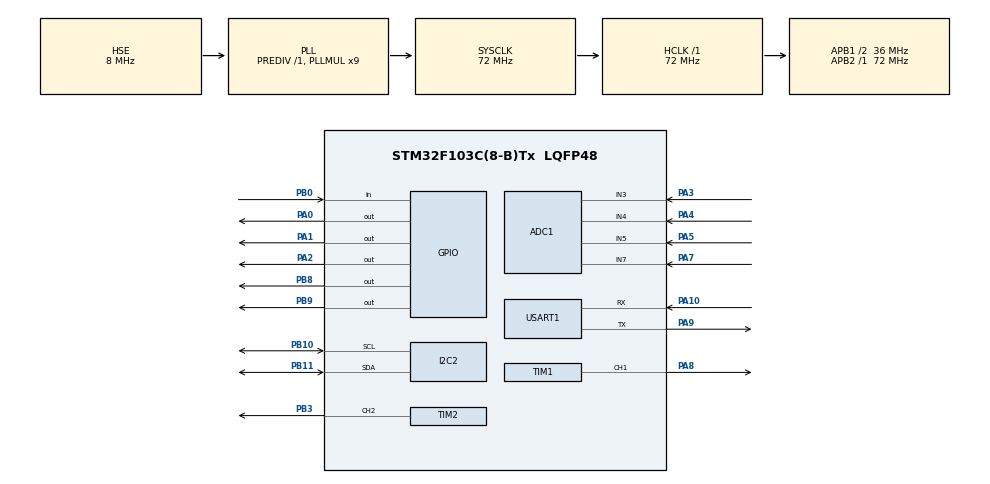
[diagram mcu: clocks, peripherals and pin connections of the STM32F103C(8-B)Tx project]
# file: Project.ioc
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ADC1.Channel-1\#ChannelRegularConversion=ADC_CHANNEL_3
ADC1.Channel-2\#ChannelRegularConversion=ADC_CHANNEL_4
ADC1.Channel-3\#ChannelRegularConversion=ADC_CHANNEL_5
ADC1.Channel-4\#ChannelRegularConversion=ADC_CHANNEL_7
ADC1.ContinuousConvMode=ENABLE
ADC1.NbrOfConversion=4
ADC1.NbrOfConversionFlag=1
ADC1.Rank-1\#ChannelRegularConversion=1
ADC1.Rank-2\#ChannelRegularConversion=2
ADC1.Rank-3\#ChannelRegularConversion=3
ADC1.Rank-4\#ChannelRegularConversion=4
ADC1.SamplingTime-1\#ChannelRegularConversion=ADC_SAMPLETIME_239CYCLES_5
ADC1.SamplingTime-2\#ChannelRegularConversion=ADC_SAMPLETIME_239CYCLES_5
ADC1.SamplingTime-3\#ChannelRegularConversion=ADC_SAMPLETIME_239CYCLES_5
ADC1.SamplingTime-4\#ChannelRegularConversion=ADC_SAMPLETIME_239CYCLES_5
ADC1.master=1
Dma.ADC1.0.Direction=DMA_PERIPH_TO_MEMORY
Dma.ADC1.0.Instance=DMA1_Channel1
Dma.ADC1.0.MemDataAlignment=DMA_MDATAALIGN_HALFWORD
Dma.ADC1.0.MemInc=DMA_MINC_ENABLE
Dma.ADC1.0.Mode=DMA_CIRCULAR
Dma.ADC1.0.PeriphDataAlignment=DMA_PDATAALIGN_HALFWORD
Dma.ADC1.0.PeriphInc=DMA_PINC_DISABLE
Dma.ADC1.0.Priority=DMA_PRIORITY_MEDIUM
Dma.Request0=ADC1
I2C2.I2C_Mode=I2C_Standard
Mcu.Family=STM32F1
Mcu.Name=STM32F103C(8-B)Tx
Mcu.Package=LQFP48
NVIC.DMA1_Channel1_IRQn=true\:0\:0\:false\:false\:true\:false\:true\:true
NVIC.PriorityGroup=NVIC_PRIORITYGROUP_4
NVIC.USART1_IRQn=true\:0\:0\:false\:false\:true\:true\:true\:true
PA0-WKUP.GPIO_ModeDefaultOutputPP=GPIO_MODE_OUTPUT_PP
PA0-WKUP.Signal=GPIO_Output
PA1.GPIO_ModeDefaultOutputPP=GPIO_MODE_OUTPUT_PP
PA1.Signal=GPIO_Output
PA10.Mode=Asynchronous
PA10.Signal=USART1_RX
PA13.Mode=Serial_Wire
PA13.Signal=SYS_JTMS-SWDIO
PA14.Mode=Serial_Wire
PA14.Signal=SYS_JTCK-SWCLK
PA2.GPIO_ModeDefaultOutputPP=GPIO_MODE_OUTPUT_PP
PA2.Signal=GPIO_Output
PA3.GPIO_Mode=GPIO_MODE_ANALOG
PA3.Signal=ADCx_IN3
PA4.GPIO_Mode=GPIO_MODE_ANALOG
PA4.Signal=ADCx_IN4
PA5.GPIO_Mode=GPIO_MODE_ANALOG
PA5.Signal=ADCx_IN5
PA7.GPIO_Mode=GPIO_MODE_ANALOG
PA7.Signal=ADCx_IN7
PA8.Signal=S_TIM1_CH1
PA9.Mode=Asynchronous
PA9.Signal=USART1_TX
PB0.GPIO_PuPd=GPIO_PULLUP
PB0.Signal=GPIO_Input
PB10.GPIO_Mode=GPIO_MODE_AF_OD
PB10.Mode=I2C
PB10.Signal=I2C2_SCL
PB11.GPIO_Mode=GPIO_MODE_AF_OD
PB11.Mode=I2C
PB11.Signal=I2C2_SDA
PB3.Signal=S_TIM2_CH2
PB8.GPIO_ModeDefaultOutputPP=GPIO_MODE_OUTPUT_OD
PB8.GPIO_PuPd=GPIO_NOPULL
PB8.GPIO_Speed=GPIO_SPEED_FREQ_HIGH
PB8.PinState=GPIO_PIN_SET
PB8.Signal=GPIO_Output
PB9.GPIO_ModeDefaultOutputPP=GPIO_MODE_OUTPUT_OD
PB9.GPIO_PuPd=GPIO_NOPULL
PB9.GPIO_Speed=GPIO_SPEED_FREQ_HIGH
PB9.PinState=GPIO_PIN_SET
PB9.Signal=GPIO_Output
PD0-OSC_IN.Mode=HSE-External-Oscillator
PD0-OSC_IN.Signal=RCC_OSC_IN
PD1-OSC_OUT.Mode=HSE-External-Oscillator
PD1-OSC_OUT.Signal=RCC_OSC_OUT
ProjectManager.HeapSize=0x200
ProjectManager.StackSize=0x400
ProjectManager.TargetToolchain=CMake
RCC.ADCPresc=RCC_ADCPCLK2_DIV6
RCC.AHBFreq_Value=72000000
RCC.APB1CLKDivider=RCC_HCLK_DIV2
RCC.APB1Freq_Value=36000000
RCC.APB1TimFreq_Value=72000000
RCC.APB2Freq_Value=72000000
RCC.APB2TimFreq_Value=72000000
RCC.HCLKFreq_Value=72000000
RCC.PLLMUL=RCC_PLL_MUL9
RCC.PLLSourceVirtual=RCC_PLLSOURCE_HSE
RCC.SYSCLKFreq_VALUE=72000000
RCC.SYSCLKSource=RCC_SYSCLKSOURCE_PLLCLK
RCC.USBFreq_Value=72000000
SH.ADCx_IN3.0=ADC1_IN3,IN3
SH.ADCx_IN4.0=ADC1_IN4,IN4
SH.ADCx_IN5.0=ADC1_IN5,IN5
SH.ADCx_IN7.0=ADC1_IN7,IN7
SH.S_TIM1_CH1.0=TIM1_CH1,PWM Generation1 CH1
SH.S_TIM2_CH2.0=TIM2_CH2,PWM Generation2 CH2
TIM1.AutoReloadPreload=TIM_AUTORELOAD_PRELOAD_ENABLE
TIM1.Channel-PWM\ Generation1\ CH1=TIM_CHANNEL_1
TIM1.Period=19999
TIM1.Prescaler=71
TIM1.Pulse-PWM\ Generation1\ CH1=1380
TIM2.AutoReloadPreload=TIM_AUTORELOAD_PRELOAD_ENABLE
TIM2.Channel-PWM\ Generation2\ CH2=TIM_CHANNEL_2
TIM2.Period=19999
TIM2.Prescaler=71
TIM2.Pulse-PWM\ Generation2\ CH2=1450
USART1.VirtualMode=VM_ASYNC
VP_TIM1_VS_ClockSourceINT.Mode=Internal
VP_TIM2_VS_ClockSourceINT.Mode=Internal
board=custom

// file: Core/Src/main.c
/* USER CODE BEGIN Header */
/**
  ******************************************************************************
  * @file           : main.c
  * @brief          : Main program body
  ******************************************************************************
  * @attention
  *
  * Copyright (c) 2026 STMicroelectronics.
  * All rights reserved.
  *
  * This software is licensed under terms that can be found in the LICENSE file
  * in the root directory of this software component.
  * If no LICENSE file comes with this software, it is provided AS-IS.
  *
  ******************************************************************************
  */
/* USER CODE END Header */
#include "main.h"
#include "adc.h"
#include "dma.h"
#include "i2c.h"
#include "tim.h"
#include "usart.h"
#include "gpio.h"

/* USER CODE BEGIN Includes */
#include "OLED.h"
#include"string.h"
#include"stdlib.h"
#include"stdio.h"
#include"math.h"
#include"mpu6050.h"
/* USER CODE END Includes */

/* USER CODE BEGIN PD */
#define  pitch 1380
#define  yaw 1450
/* USER CODE END PD */

/* USER CODE BEGIN PV */
char u[25];
volatile uint8_t character; //单字符
volatile uint8_t recvd[34]; //字符串缓冲
volatile uint8_t  i= 0;//字符串数组角标
volatile uint8_t finish = 0;  //字符串接收完成标志
volatile uint8_t cnt = 1; //模式，会转化为n
uint16_t pitch_angle=90,yaw_angle=90;//舵机初始角
float   gyro_bias[3]  = {0, 0, 0}; //陀螺仪零偏
float pitch0=0,roll0=0;//acc偏移
int MPU_OK=-1;//默认让led1常亮，CAL后0则闪烁，1则常亮
float  Pitch=0.0f,Roll=0.0f;//MPU俯仰角，翻滚角
char Pitch_Roll[48], pitch_yaw[48];//OLED缓冲
uint32_t last_mputick=0,last_oled_tick,lastkeytick=0,now=0;//mpuUpdate mpu_oled 按钮消抖的时间戳
volatile uint16_t initial_adc[4] = {0};   //初始值
uint16_t ADC[4] = {0};   //滤波后的值
uint16_t adc_buf[4][8] = {0};//缓冲
float ADC_pitch = 0.0f;   // ADC相关的舵机角度
float ADC_yaw   = 0.0f;
volatile uint8_t adc_ready = 0;
//追光参数

/* USER CODE END PV */

void SystemClock_Config(void);

/* USER CODE BEGIN 0 */

/* USER CODE BEGIN 0 */

float clamp(float a)//钳位函数
{
if(a<0.0f) return 0.0f;
else if(a>180.0) return 180.0f;
else return a;
}

void MPU_UpdateAttitude(void)
{
   short acc[3],gyro[3];//六轴数据
	 uint32_t now =HAL_GetTick();

	 if((now-last_mputick)<20) return;
	 //else 开始更新读数
	 last_mputick=now;
   MPU6050ReadAcc(acc);
   MPU6050ReadGyro(gyro);

	  float gx = (gyro[0] - gyro_bias[0]) / 16.4f;
    float gy = (gyro[1] - gyro_bias[1]) / 16.4f;

	  float ax = acc[0] / 16384.0f;
    float ay = acc[1] / 16384.0f;
    float az = acc[2] / 16384.0f;
	  float acc_pitch = atan2f( -ax, sqrtf(ay*ay + az*az)) * 57.3f;
    float acc_roll  = atan2f( ay, sqrtf(ax*ax + az*az)) * 57.3f;
    acc_pitch -= pitch0;
    acc_roll  -= roll0;
	if (az < 0.0f) {
    if (acc_pitch >= 0.0f) acc_pitch =  180.0f - acc_pitch;
    else                    acc_pitch = -180.0f - acc_pitch;

    if (acc_roll >= 0.0f)  acc_roll  =  180.0f - acc_roll;
    else                    acc_roll  = -180.0f - acc_roll;
}

float gy_eff = (az < 0.0f) ? -gy : gy;
float gx_eff = (az < 0.0f) ? -gx : gx;

Pitch = 0.98f * (Pitch + gy_eff * 0.02f) + 0.02f * acc_pitch;
Roll  = 0.98f * (Roll  + gx_eff * 0.02f) + 0.02f * acc_roll;
	//互补滤波，陀螺仪积分修正，加速度修正

		if(cnt==2)
		{
		//把姿态角映射给舵机,判断钳位
      float p=clamp(-1*Pitch),y=clamp(-1*Roll);
		//尽量纠正舵机偏差
      uint32_t PitchCompare = pitch -(uint32_t)((p-90)* 11.0f);
      uint32_t RollCompare  = (uint32_t)(yaw+ (y-90)* 10.5f);
     __HAL_TIM_SET_COMPARE(&htim1,TIM_CHANNEL_1,PitchCompare);
     __HAL_TIM_SET_COMPARE(&htim2,TIM_CHANNEL_2,RollCompare);

		}
		if(now-last_oled_tick>=50)
		{
		  last_oled_tick=now;
			int p = (int)Pitch,r = (int)Roll;
      if (p > 999) p = 999;
      if (p < -999) p = -999;
      if (r > 999) r = 999;
      if (r < -999) r = -999;
		sprintf(Pitch_Roll, "MPU:PIT %d ROLL %d       ",-1*p,-1*r);
    OLED_ShowString(0, 48, Pitch_Roll, 6);
			 if (cnt == 2)
        {
            sprintf(pitch_yaw, "PIT %d YAW %d   ", (int)clamp(-1*Pitch),(int)clamp(-1*Roll));
            OLED_ShowString(0, 36, pitch_yaw, 6);
        }
    OLED_Update();
		}

}

char Transform(char c)    //abc->ABC
{
    if (c >= 'a' && c <= 'z') c -= 32;
    return c;
}

void HAL_ADC_ConvCpltCallback(ADC_HandleTypeDef* hadc)
{
    if (hadc == &hadc1)
    {
        adc_ready = 1;
    }
}

void  dealCMD(void)
{

    char CMD[40];

	 __disable_irq();
    uint8_t k,length=strlen((const char *)recvd);
	uint32_t Compare=1500;
		for (k = 0; k <length; k++)
        CMD[k] = Transform((char)recvd[k]);
        CMD[k] = '\0';
     __enable_irq();
    if (strcmp(CMD, "AT") == 0)
    {
        OLED_ShowString(0, 24, "OK                  ", 6);
			 strcpy(u,"OK\n");
        OLED_Update();
    }
    else if (strcmp(CMD, "STATUS") == 0)
    {
        uint8_t n;
        if (cnt == 0)      n = 3;
        else if (cnt == 1) n = 1;
        else               n = 2;

        char buf[24];
        buf[0]='O'; buf[1]='K'; buf[2]=' '; buf[3]='M';buf[4]='O'; buf[5]='D'; buf[6]='E'; buf[7]='=';
        buf[8]='0' + n; buf[9]=' ';buf[10]=' ';buf[11]=' ';buf[12]=' ';buf[13]=' ';buf[14]=' ';buf[15]='\0';
        OLED_ShowString(0, 24, buf, 6);
			strcpy(u,buf);
        OLED_Update();
    }
		else if(strncmp(CMD,"PITCH ",6)==0||strncmp(CMD,"YAW ",4)==0)
    {
			if(cnt!=1){OLED_ShowString(0,24,"ERR MODE                ",6);strcpy(u,"ERR MODE\n");
			OLED_Update();return;}
			int is_pitch=0,Angle=0;
			if(strncmp(CMD,"YAW ",4)==0)
			{
			is_pitch=0;
			Angle=atoi(&CMD[4]);
			}
			else
			{
			is_pitch=1;
			Angle=atoi(&CMD[6]);
			}
			if(Angle<0||Angle>180)
			{
			OLED_ShowString(0,24,"ERR OverStep   ",6);
				strcpy(u,"ERR Overstep\n");
			OLED_Update();

				return;
			}

    if(is_pitch)
		{
			pitch_angle=Angle;
			Compare=pitch+(Angle-90)*11;
	  __HAL_TIM_SET_COMPARE(&htim1,TIM_CHANNEL_1,Compare);
			OLED_ShowString(0,24,"OK                ",6);
			strcpy(u,"OK\n");
			OLED_Update();
		}
		 else
		{
      yaw_angle=Angle;
			Compare=(uint32_t)(yaw+(Angle-90)*10.5f);
	  __HAL_TIM_SET_COMPARE(&htim2,TIM_CHANNEL_2,Compare);
			OLED_ShowString(0,24,"OK                ",6);
			strcpy(u,"OK\n");
			OLED_Update();
		}
		sprintf(pitch_yaw,"PIT %d YAW %d                   ",pitch_angle,yaw_angle);
		OLED_ShowString(0,36,pitch_yaw,6);
		OLED_Update();
		}
	else if(strcmp(CMD,"CAL")==0)
    {
    double  gyro_sum[3] = {0, 0, 0};
    double  pitch_sum = 0.0, roll_sum = 0.0;
    short   gyro_min[3], gyro_max[3],acc[3],gyro[3];
    int  m=0;
    if (MPU6050ReadID() == 0)
	   {
	   OLED_ShowString(0,24,"ERR NotFound",6);//attention!!!0x70,Edit this in mpu6050HeadFile
			 strcpy(u,"ERR NotFound\n");
	   OLED_Update();
		 MPU_OK=0;

		 return;
	   }
    else
  {
    //初始化
    MPU6050ReadAcc(acc);
    MPU6050ReadGyro(gyro);
    for (m = 0; m < 3; m++) {
        gyro_min[m] = gyro[m];
        gyro_max[m] = gyro[m];
    }

   //采样200次
    for (m = 0; m< 200; m++)
    {   MPU6050ReadAcc(acc);
        MPU6050ReadGyro(gyro);
        gyro_sum[0] += gyro[0];
        gyro_sum[1] += gyro[1];
        gyro_sum[2] += gyro[2];
        //陀螺轴min/max
        if (gyro[0] < gyro_min[0]) gyro_min[0] = gyro[0];
        if (gyro[0] > gyro_max[0]) gyro_max[0] = gyro[0];
        if (gyro[1] < gyro_min[1]) gyro_min[1] = gyro[1];
        if (gyro[1] > gyro_max[1]) gyro_max[1] = gyro[1];
        if (gyro[2] < gyro_min[2]) gyro_min[2] = gyro[2];
        if (gyro[2] > gyro_max[2]) gyro_max[2] = gyro[2];
        pitch_sum += atan2f(-(float)acc[0],
        sqrtf((float)acc[1]*(float)acc[1] +(float)acc[2]*(float)acc[2])) * 57.3f;
        roll_sum  += atan2f( (float)acc[1],
        sqrtf((float)acc[0]*(float)acc[0] +(float)acc[2]*(float)acc[2])) * 57.3f;
      }

	   for (m = 0; m < 3; m++)
    {
        if ((gyro_max[m] - gyro_min[m]) > 300)
		  {
			OLED_ShowString(0,24,"ERR Shake       ",6);
				strcpy(u,"ERR Shake\n");
			OLED_Update();
			MPU_OK=0;

			return;
      }
	  }
        short a[3];
        MPU6050ReadAcc(a);
	      float mod = sqrtf(a[2]*a[2]);//Z轴模长
       if (fabsf(fabsf((float)a[2]) - 16384.0f) > 2000.0f)
		 {
	   OLED_ShowString(0,24,"ERR Uneven      ",6);
			 strcpy(u,"ERR Uneven\n");
	   OLED_Update();
		 MPU_OK=0;

		 return;
		 }

      else
	  {
	   OLED_ShowString(0,24,"OK CAL           ",6);
			strcpy(u,"OK CAL\n");
	   OLED_Update();
		 MPU_OK=1;
		gyro_bias[0] = gyro_sum[0] / 200;
    gyro_bias[1] = gyro_sum[1] / 200;
    gyro_bias[2] = gyro_sum[2] / 200;

    pitch0 = pitch_sum / 200;
    roll0  = roll_sum  / 200;

		}
 }
	}
	else
    {
        OLED_ShowString(0, 24, "ERR InvalidCMD      ", 6);strcpy(u,"ERR CMD\n");
        OLED_Update();
    }

}

void HAL_UART_RxCpltCallback(UART_HandleTypeDef *huart)
{
    if (huart== &huart1)
    {
        uint8_t c = character;

        if (c == '\r' || c == '\n')
        {
            if (i> 0)
            {
                recvd[i] = '\0';
                finish = 1;
                i = 0;
            }

        }
        else if (i < 32)
        {
            recvd[i++] = c;
        }

    else
   {
    i = 0;
    recvd[0] = '\0';
    finish = 2;
   }
        HAL_UART_Receive_IT(&huart1, (uint8_t *)&character, 1);
    }
}

void dealADC(void)//滤波
{
    static uint32_t sum[4] = {0};
    static uint8_t  ijk = 0;

		if (!adc_ready) return;
    adc_ready = 0;

    for (int cycle = 0; cycle < 4; cycle++)
		{
        sum[cycle] -= adc_buf[cycle][ijk];
        adc_buf[cycle][ijk] = initial_adc[cycle];
        sum[cycle] += initial_adc[cycle];
        ADC[cycle] = (uint16_t)(sum[cycle] / 8);
		}
    ijk = (ijk + 1) % 8;
}

void track_light(void)
{
    float up    = (float)ADC[1];
    float down  = (float)ADC[3];
    float left  = (float)ADC[0];
    float right = (float)ADC[2];

    float Y_bias = up - down;
    float X_bias = right - left;

    if (fabsf(Y_bias) < 150.0f) Y_bias = 0.0f;
    if (fabsf(X_bias) < 150.0f) X_bias = 0.0f;
    if (Y_bias == 0.0f && X_bias == 0.0f) return;

    ADC_pitch = 0.01f * Y_bias;
    ADC_yaw   = 0.01f * X_bias;

	  static float Y_f = 0.0f, X_f = 0.0f;
    Y_f = 0.7f * Y_f + 0.3f * Y_bias;
    X_f = 0.7f * X_f + 0.3f * X_bias;

	  float pitch_delta = 0.012f * Y_f;
    float yaw_delta   = 0.012f * X_f;

		if (pitch_delta >  80.0f) pitch_delta =  80.0f;
    if (pitch_delta < -80.0f) pitch_delta = -80.0f;
    if (yaw_delta   >  80.0f) yaw_delta   =  80.0f;
    if (yaw_delta   < -80.0f) yaw_delta   = -80.0f;

		static uint32_t pitch_cmp = pitch, yaw_cmp = yaw;

    int32_t p = (int32_t)pitch_cmp + (int32_t)pitch_delta;
    int32_t y = (int32_t)yaw_cmp   + (int32_t)yaw_delta;

    if (p < 800) p = 800;  if (p > 1960) p = 1960;
    if (y < 750) y = 750;  if (y > 2100) y = 2100;

    pitch_cmp = (uint32_t)p;
    yaw_cmp   = (uint32_t)y;

    __HAL_TIM_SET_COMPARE(&htim1, TIM_CHANNEL_1, (uint16_t)pitch_cmp);
    __HAL_TIM_SET_COMPARE(&htim2, TIM_CHANNEL_2, (uint16_t)yaw_cmp);
}

/* USER CODE END 0 */

int main(void)
{

  /* USER CODE BEGIN 1 */

	      uint8_t pre=1, cur=1,press=0;
				uint32_t t0=0,t1=0;
				uint32_t lasttime=0,mpulasttime=0;

  /* USER CODE END 1 */

  /* MCU Configuration--------------------------------------------------------*/

  /* Reset of all peripherals, Initializes the Flash interface and the Systick. */
  HAL_Init();

  /* Configure the system clock */
  SystemClock_Config();

  /* Initialize all configured peripherals */
  MX_GPIO_Init();
  MX_DMA_Init();
  MX_USART1_UART_Init();
  MX_TIM1_Init();
  MX_TIM2_Init();
  MX_I2C2_Init();
  MX_ADC1_Init();
  /* USER CODE BEGIN 2 */

	OLED_Init();
	MPU6050_Init();
	OLED_ShowString(0, 0, "CLOUDHOUSE", 6);
	OLED_ShowString(0, 12, "MODE 1", 6);
	OLED_ShowString(0,36,"PIT 90 YAW 90    ",6);
	OLED_Update();

	HAL_UART_Receive_IT(&huart1, (uint8_t *)&character, 1);

  for (int j = 0; j < 3; j++)
    {
        HAL_GPIO_WritePin(GPIOA, GPIO_PIN_0, GPIO_PIN_SET);

        HAL_Delay(200);
        HAL_GPIO_WritePin(GPIOA, GPIO_PIN_0, GPIO_PIN_RESET);
        HAL_GPIO_WritePin(GPIOA, GPIO_PIN_1, GPIO_PIN_SET);

        HAL_Delay(200);
        HAL_GPIO_WritePin(GPIOA, GPIO_PIN_1, GPIO_PIN_RESET);
        HAL_GPIO_WritePin(GPIOA, GPIO_PIN_2, GPIO_PIN_SET);

	      HAL_Delay(200);
	      HAL_GPIO_WritePin(GPIOA, GPIO_PIN_2, GPIO_PIN_RESET);
    }
    HAL_GPIO_WritePin(GPIOA, GPIO_PIN_0, GPIO_PIN_SET);

    HAL_TIM_PWM_Start(&htim1,TIM_CHANNEL_1);//PA8 Control PITCH,1380
		HAL_TIM_PWM_Start(&htim2,TIM_CHANNEL_2);//PB3 Control YAW 600~1450

		HAL_ADC_Start_DMA(&hadc1, (uint32_t*)initial_adc,4);//启动ADC1

  /* USER CODE END 2 */

  /* Infinite loop */
  /* USER CODE BEGIN WHILE */

		/* USER CODE BEGIN WHILE */

while (1)
{
     dealADC();

	   if (cnt == 0)
		{
			static uint32_t last_track = 0;
      if (HAL_GetTick() - last_track >= 20)
     {
      last_track = HAL_GetTick();
      track_light();
		 }
       static uint32_t last_oled = 0;
    if (HAL_GetTick() - last_oled >= 50)
    {
	  last_oled = HAL_GetTick();
    char light_str[24];
    sprintf(light_str, "%d %d %d %d      ", 8000-ADC[1], 8000-ADC[3], 8000-ADC[0],8000-ADC[2]);
    OLED_ShowString(0, 57, light_str, 6);
    OLED_Update();
    }
	}
    if (finish)
    {
        uint8_t flag = finish;
			  finish = 0;
        HAL_GPIO_TogglePin(GPIOA, GPIO_PIN_2);
        if (flag == 1)
				{
				 dealCMD();HAL_UART_Transmit(&huart1,(uint8_t*)u,strlen(u),100);
				}
				else if (flag == 2)
    {
        OLED_ShowString(0, 24, "ERR OverLen      ", 6);
        OLED_Update();
		}

		}
//执行完CAL确定MPU_OK后开始更新姿态角
    if(MPU_OK==1) MPU_UpdateAttitude();

      pre = cur;
      cur =(HAL_GPIO_ReadPin(GPIOB, GPIO_PIN_0) == GPIO_PIN_SET);

    if (pre != cur)
    {
			 now=HAL_GetTick();
       if ((now - lastkeytick) > 50)
       {
				 lastkeytick = now;
        uint8_t  cur1= (HAL_GPIO_ReadPin(GPIOB, GPIO_PIN_0) == GPIO_PIN_SET) ;
       if (cur1!= cur) { cur = pre; }
			 else
				{
				if (cur == 0)
        {
         t0=HAL_GetTick();
        }
        else
        {
						t1 =HAL_GetTick();
            uint32_t t= t1- t0;
            if (t >= 1000)
             {
						  cnt=(cnt+2)%3;
						  press=1;
						 }
						else
						 {
						  cnt=(cnt+1)%3;
						  press=0;
						 }
						   char mode_str[8];
                uint8_t n;
                if (cnt == 0)
							{
								n = 3;
							}
                else if (cnt == 1)
				{
					n = 1;
					pitch_angle=90,yaw_angle=90;//更新参数，保证下次pitch或yaw指令后未变化的保持90
					__HAL_TIM_SET_COMPARE(&htim1,TIM_CHANNEL_1,pitch);//PA8
	        __HAL_TIM_SET_COMPARE(&htim2,TIM_CHANNEL_2,yaw);//PB3
					OLED_ShowString(0,36,"PIT 90 YAW 90      ",6);//仅更新显示
		      OLED_Update();
			    }
                else if(cnt==2)    n = 2;

                mode_str[0] = 'M';
                mode_str[1] = 'O';
                mode_str[2] = 'D';
                mode_str[3] = 'E';
                mode_str[4] = ' ';
                mode_str[5] = '0' + n;
                mode_str[6] = '\0';

                OLED_ShowString(0,12 , mode_str, 6);strcpy(u,mode_str);HAL_UART_Transmit(&huart1,(uint8_t*)u,strlen(u),100);

						 if (press==1)
						 { OLED_ShowString(48, 12, "KEY L", 6);strcpy(u,"KEY L");HAL_UART_Transmit(&huart1,(uint8_t*)u,strlen(u),100);}
                else if(press==0)
								{OLED_ShowString(48, 12, "KEY S", 6);strcpy(u,"KEY S");HAL_UART_Transmit(&huart1,(uint8_t*)u,strlen(u),100);}

                OLED_Update();
				}
			}
		}
	}

		if(cnt==1){HAL_GPIO_WritePin(GPIOA, GPIO_PIN_1, GPIO_PIN_RESET);}
		else if(cnt==2)
    {
			HAL_GPIO_WritePin(GPIOA, GPIO_PIN_1, GPIO_PIN_SET);

		}
		else if (cnt==0)
		{
							if(HAL_GetTick()-lasttime>=500)
						{
							HAL_GPIO_TogglePin(GPIOA, GPIO_PIN_1);
						  lasttime = HAL_GetTick();
						}
		}

        if(MPU_OK==0)
					{
						if(HAL_GetTick()-mpulasttime>=500)
						{
							HAL_GPIO_TogglePin(GPIOA, GPIO_PIN_0);
						  mpulasttime = HAL_GetTick();
						}
					}
					else {HAL_GPIO_WritePin(GPIOA, GPIO_PIN_0, GPIO_PIN_SET);}

}
    /* USER CODE END WHILE */

}

void SystemClock_Config(void)
{
  RCC_OscInitTypeDef RCC_OscInitStruct = {0};
  RCC_ClkInitTypeDef RCC_ClkInitStruct = {0};
  RCC_PeriphCLKInitTypeDef PeriphClkInit = {0};

  /** Initializes the RCC Oscillators according to the specified parameters
  * in the RCC_OscInitTypeDef structure.
  */
  RCC_OscInitStruct.OscillatorType = RCC_OSCILLATORTYPE_HSE;
  RCC_OscInitStruct.HSEState = RCC_HSE_ON;
  RCC_OscInitStruct.HSEPredivValue = RCC_HSE_PREDIV_DIV1;
  RCC_OscInitStruct.HSIState = RCC_HSI_ON;
  RCC_OscInitStruct.PLL.PLLState = RCC_PLL_ON;
  RCC_OscInitStruct.PLL.PLLSource = RCC_PLLSOURCE_HSE;
  RCC_OscInitStruct.PLL.PLLMUL = RCC_PLL_MUL9;
  if (HAL_RCC_OscConfig(&RCC_OscInitStruct) != HAL_OK)
  {
    Error_Handler();
  }

  /** Initializes the CPU, AHB and APB buses clocks
  */
  RCC_ClkInitStruct.ClockType = RCC_CLOCKTYPE_HCLK|RCC_CLOCKTYPE_SYSCLK
                              |RCC_CLOCKTYPE_PCLK1|RCC_CLOCKTYPE_PCLK2;
  RCC_ClkInitStruct.SYSCLKSource = RCC_SYSCLKSOURCE_PLLCLK;
  RCC_ClkInitStruct.AHBCLKDivider = RCC_SYSCLK_DIV1;
  RCC_ClkInitStruct.APB1CLKDivider = RCC_HCLK_DIV2;
  RCC_ClkInitStruct.APB2CLKDivider = RCC_HCLK_DIV1;

  if (HAL_RCC_ClockConfig(&RCC_ClkInitStruct, FLASH_LATENCY_2) != HAL_OK)
  {
    Error_Handler();
  }
  PeriphClkInit.PeriphClockSelection = RCC_PERIPHCLK_ADC;
  PeriphClkInit.AdcClockSelection = RCC_ADCPCLK2_DIV6;
  if (HAL_RCCEx_PeriphCLKConfig(&PeriphClkInit) != HAL_OK)
  {
    Error_Handler();
  }
}

void Error_Handler(void)
{
  __disable_irq();
  while (1)
  {
  }
}
